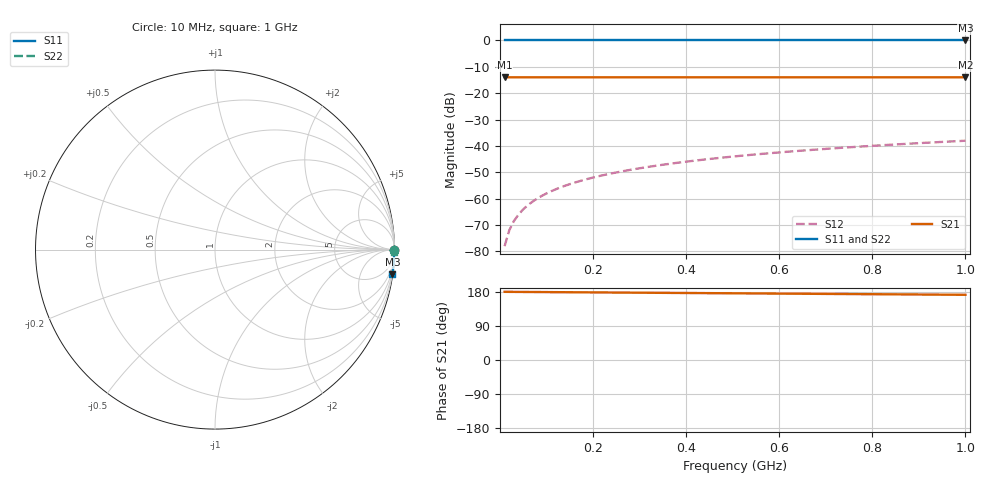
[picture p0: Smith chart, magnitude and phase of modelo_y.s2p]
!	Electronica Aplicada III
!	Modelo
!	VCE = 0.50V IC =  2.5 mA
!	Common Emitter S-Parameters:  2020
#	MHz 	Y	RI	R 	50
!	f	Y11	Y21	Y12	Y22
!	MHz	Re 	Im	Re	Im	Re	Im	Re	Im
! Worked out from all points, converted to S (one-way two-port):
!   100 points, 10 MHz to 1 GHz, reference 50 ohm
!   highest |S21| = -13.99 dB at 10 MHz (marker M1); lowest = -14.0 dB at 1 GHz (marker M2)
!   lowest |S11| = 0.0 dB at 1 GHz (marker M3), VSWR 963.05, Z = 10.7 - j717 ohm
!   |S11| at or under -10 dB: nowhere
!   |S22| runs from 0.0 to 0.0 dB; largest |S21 - S12| = 0.2
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10  0.001 0.000691  0.1 -6.28e-05  1e-10 -6.28e-05  0.0001 6.28e-05
20  0.001 0.00138  0.1 -0.000126  1e-10 -0.000126  0.0001 0.000126
30  0.001 0.00207  0.1 -0.000188  1e-10 -0.000188  0.0001 0.000188
40  0.001 0.00276  0.1 -0.000251  1e-10 -0.000251  0.0001 0.000251
50  0.001 0.00346  0.1 -0.000314  1e-10 -0.000314  0.0001 0.000314
60  0.001 0.00415  0.1 -0.000377  1e-10 -0.000377  0.0001 0.000377
70  0.001 0.00484  0.1 -0.00044  1e-10 -0.00044  0.0001 0.00044
80  0.001 0.00553  0.1 -0.000503  1e-10 -0.000503  0.0001 0.000503
90  0.001 0.00622  0.1 -0.000565  1e-10 -0.000565  0.0001 0.000565
110  0.001 0.0076  0.1 -0.000691  1e-10 -0.000691  0.0001 0.000691
140  0.001 0.00968  0.1 -0.00088  1e-10 -0.00088  0.0001 0.00088
180  0.001 0.0124  0.1 -0.00113  1e-10 -0.00113  0.0001 0.00113
210  0.001 0.0145  0.1 -0.00132  1e-10 -0.00132  0.0001 0.00132
250  0.001 0.0173  0.1 -0.00157  1e-10 -0.00157  0.0001 0.00157
290  0.001 0.02  0.1 -0.00182  1e-10 -0.00182  0.0001 0.00182
340  0.001 0.0235  0.1 -0.00214  1e-10 -0.00214  0.0001 0.00214
420  0.001 0.029  0.1 -0.00264  1e-10 -0.00264  0.0001 0.00264
510  0.001 0.0352  0.1 -0.0032  1e-10 -0.0032  0.0001 0.0032
590  0.001 0.0408  0.1 -0.00371  1e-10 -0.00371  0.0001 0.00371
670  0.001 0.0463  0.1 -0.00421  1e-10 -0.00421  0.0001 0.00421
840  0.001 0.0581  0.1 -0.00528  1e-10 -0.00528  0.0001 0.00528
1000  0.001 0.0691  0.1 -0.00628  1e-10 -0.00628  0.0001 0.00628
